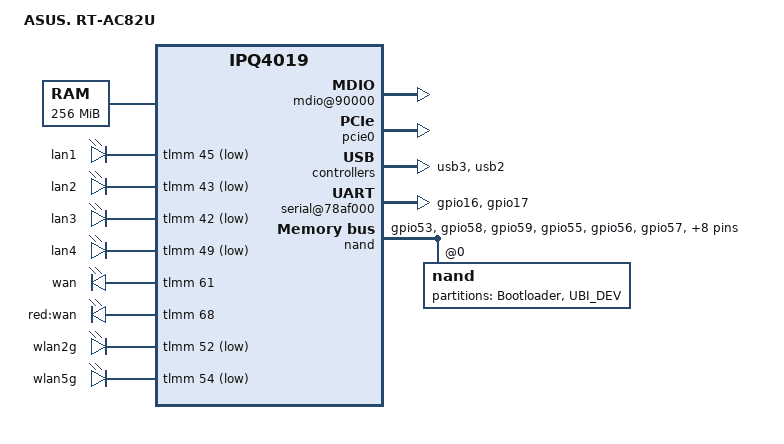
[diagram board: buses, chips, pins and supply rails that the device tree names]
/* Copyright (c) 2015 - 2016, The Linux Foundation. All rights reserved.
 *
 * Permission to use, copy, modify, and/or distribute this software for any
 * purpose with or without fee is hereby granted, provided that the above
 * copyright notice and this permission notice appear in all copies.
 *
 * THE SOFTWARE IS PROVIDED "AS IS" AND THE AUTHOR DISCLAIMS ALL WARRANTIES
 * WITH REGARD TO THIS SOFTWARE INCLUDING ALL IMPLIED WARRANTIES OF
 * MERCHANTABILITY AND FITNESS. IN NO EVENT SHALL THE AUTHOR BE LIABLE FOR
 * ANY SPECIAL, DIRECT, INDIRECT, OR CONSEQUENTIAL DAMAGES OR ANY DAMAGES
 * WHATSOEVER RESULTING FROM LOSS OF USE, DATA OR PROFITS, WHETHER IN AN
 * ACTION OF CONTRACT, NEGLIGENCE OR OTHER TORTIOUS ACTION, ARISING OUT OF
 * OR IN CONNECTION WITH THE USE OR PERFORMANCE OF THIS SOFTWARE.
 *
 */

#include "qcom-ipq4019.dtsi"
#include "qcom-ipq4019-mhi.dtsi"
#include <dt-bindings/input/input.h>
#include <dt-bindings/gpio/gpio.h>

/ {
	model = "ASUS. RT-AC82U";
	compatible = "qcom,ipq4019";

	chosen {
		bootargs-append = " ubi.mtd=UBI_DEV";
	};

	memory {
		device_type = "memory";
		reg = <0x80000000 0x10000000>; /* 256MB */
	};

	soc {
		rng@22000 {
			status = "ok";
		};

		mdio@90000 {
			status = "ok";
		};

		ess-psgmii@98000 {
			status = "ok";
		};

		wifi_glb_tcsr: tcsr@1949000 {
			status = "ok";
		};

		tcsr: tcsr@194b000 {
			status = "ok";
		};

		ess_tcsr: ess_tcsr@1953000 {
			status = "ok";
		};

		wifi_noc_memtype_m0_m2_tcsr: tcsr@1957000 {
			status = "ok";
		};

		ess-switch@c000000 {
			status = "ok";
		};

		edma@c080000 {
			status = "ok";
		};

		pcie0: pci@40000000 {
			status = "ok";
			perst-gpio = <&tlmm 38 GPIO_ACTIVE_LOW>;
		};

		wifi1: wifi@a800000 {
			status = "disabled";
		};

		usb3_ss_phy: ssphy@0 {
			status = "ok";
		};

		usb3_hs_phy: hsphy@a6000 {
			status = "ok";
		};

		usb2_hs_phy: hsphy@a8000 {
			status = "ok";
		};

		usb3: usb3@8a00000 {
			status = "ok";
		};

		usb2: usb2@6000000 {
			status = "ok";
		};

		qpic_bam: dma@7984000{
			status = "ok";
		};

		qcom_mdss_qpic@7980000 {
			status = "ok";
		};

		qcom_mdss_qpic_panel {
			status = "ok";
		};

		serial@78af000 {
			pinctrl-0 = <&serial_pins>;
			pinctrl-names = "default";
			status = "ok";
		};

		gpio_keys {
			status = "disabled";
		};
	};
	leds {
		compatible = "gpio-leds";

		lan1 {
			label = "lan1";
			gpios = <&tlmm 45 GPIO_ACTIVE_LOW>;
		};

		lan2 {
			label = "lan2";
			gpios = <&tlmm 43 GPIO_ACTIVE_LOW>;
		};

		lan3 {
			label = "lan3";
			gpios = <&tlmm 42 GPIO_ACTIVE_LOW>;
		};

		lan4 {
			label = "lan4";
			gpios = <&tlmm 49 GPIO_ACTIVE_LOW>;
		};

		wan_blue {
			label = "wan";
			gpios = <&tlmm 61 GPIO_ACTIVE_HIGH>;
		};

		wan_red {
			label = "red:wan";
			gpios = <&tlmm 68 GPIO_ACTIVE_HIGH>;
		};

		wlan2g {
			label = "wlan2g";
			gpios = <&tlmm 52 GPIO_ACTIVE_LOW>;
		};

		wlan5g {
			label = "wlan5g";
			gpios = <&tlmm 54 GPIO_ACTIVE_LOW>;
		};
	};
};

&nand {
	pinctrl-0 = <&nand_pins>;
	pinctrl-names = "default";
	status = "ok";

	nand@0 {
		partitions {
			compatible = "fixed-partitions";
			#address-cells = <1>;
			#size-cells = <1>;

			partition@0 {
				label = "Bootloader";
				reg = <0x000000000000 0x000000400000>;
				read-only;
			};
			partition@400000 {
				label = "UBI_DEV";
				reg = <0x000000400000 0x000007C00000>;
			};
		};
	};
};

&tlmm {
	serial_pins: serial_pinmux {
		mux {
			pins = "gpio16", "gpio17";
			function = "blsp_uart0";
			bias-disable;
		};
	};

	nand_pins: nand_pins {
		pullups {
			pins = "gpio53", "gpio58",
				 "gpio59";
			function = "qpic";
			bias-pull-up;
		};

		pulldowns {
			pins = "gpio55", "gpio56",
				 "gpio57", "gpio60",
				 "gpio62", "gpio63", "gpio64",
				 "gpio65", "gpio66", "gpio67",
				 "gpio69";
			function = "qpic";
			bias-pull-down;
		};
	};
};
